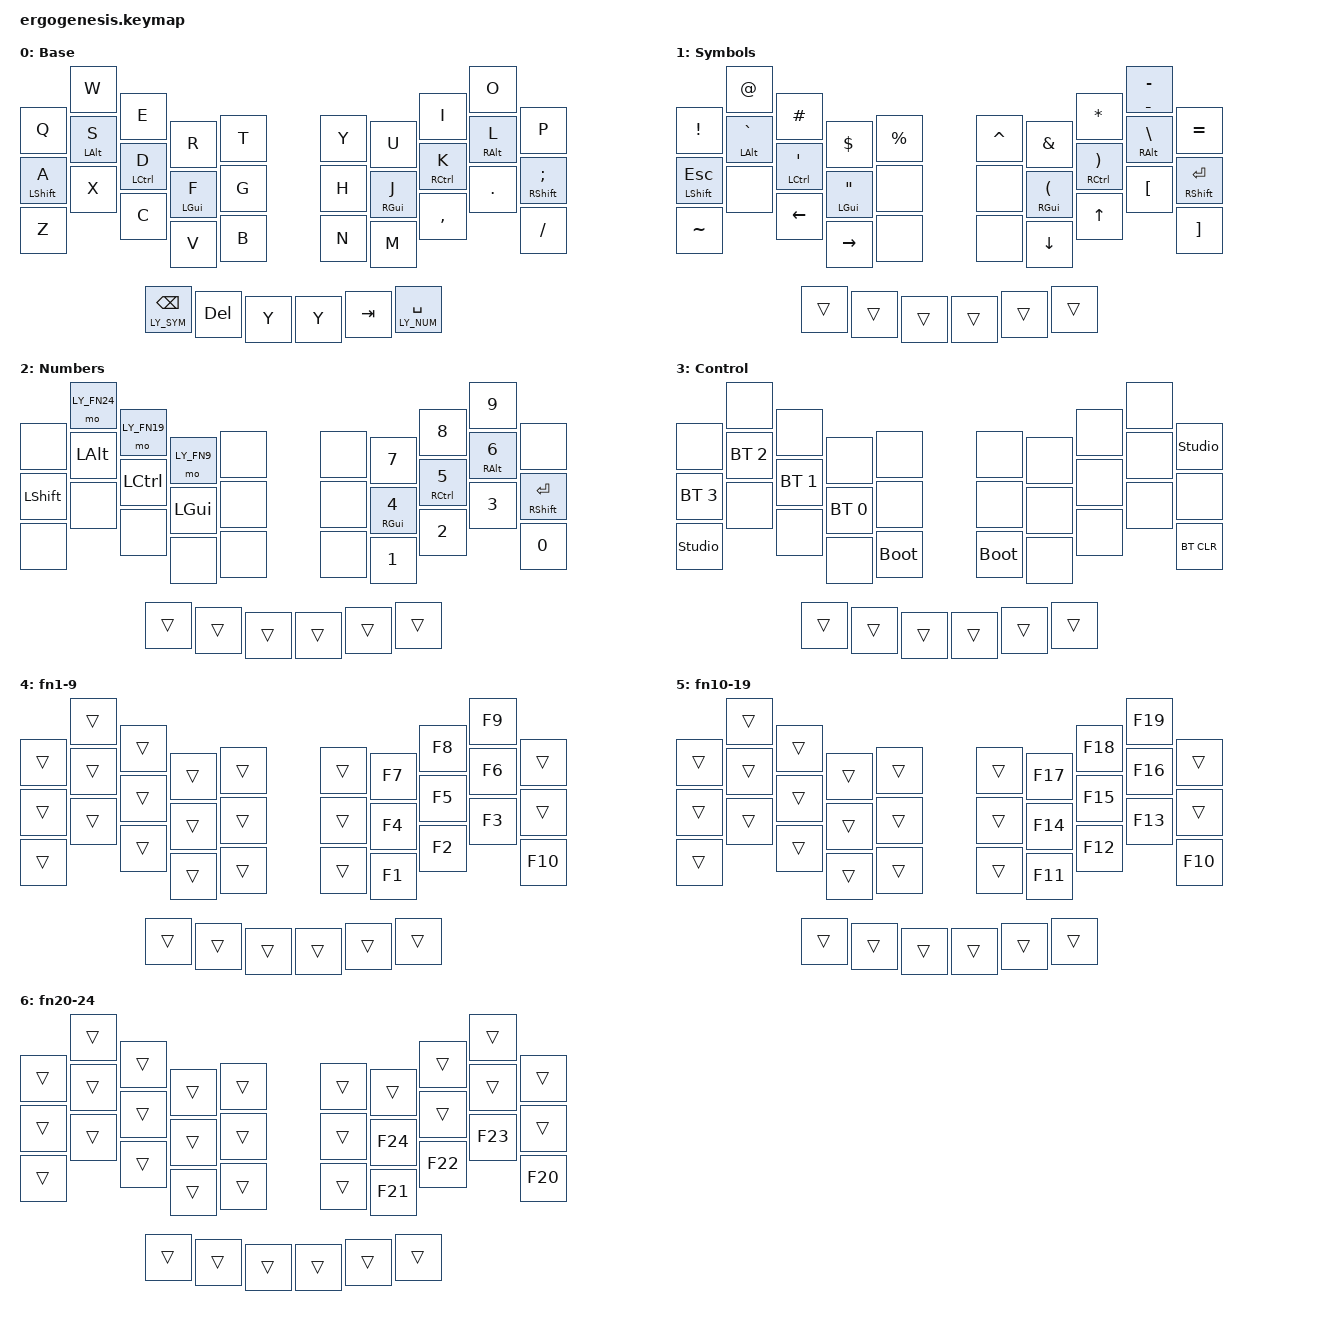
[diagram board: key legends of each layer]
// https://github.com/zmkfirmware/zmk/blob/main/app/boards/shields/cradio/cradio.keymap
// https://github.com/auryn31/avocado/blob/main/config/boards/shields/avocado/avocado.keymap


#include <behaviors.dtsi>// https://github.com/zmkfirmware/zmk/blob/main/app/dts/behaviors.dtsi
#include <dt-bindings/zmk/keys.h>// https://github.com/zmkfirmware/zmk/blob/main/app/include/dt-bindings/zmk/keys.h
#include <dt-bindings/zmk/bt.h>// https://github.com/zmkfirmware/zmk/blob/main/app/include/dt-bindings/zmk/bt.h

#include <dt-bindings/zmk/pointing.h>// https://github.com/zmkfirmware/zmk/blob/main/app/include/dt-bindings/zmk/pointing.h
#include "./36.h"
#include "./helper.h"

// https://github.com/urob/zmk-helpers/tree/main?tab=readme-ov-file#unicode-characters-and-language-collection
// #define HOST_OS 1 // Linux
// #define HOST_OS 2// MacOS
// #include "zmk-helpers/helper.h"
// // #include "zmk-helpers/unicode-chars/german.dtsi" // https://github.com/urob/zmk-helpers/blob/main/include/zmk-helpers/unicode-chars/german.dtsi
// #include <zmk-helpers/unicode-chars/currency.dtsi>// https://github.com/urob/zmk-helpers/blob/main/include/zmk-helpers/unicode-chars/currency.dtsi

// TODO: https://github.com/urob/zmk-helpers/blob/main/docs/core_helpers.md#zmk_unicode
// TODO leader key?

// Home row mods macro
#define HRML(k1,k2,k3,k4) &ht LSHFT k1  &ht LALT  k2  &ht LCTRL k3  &ht LGUI  k4
#define HRMR(k1,k2,k3,k4) &ht RGUI  k1  &ht RCTRL k2  &ht RALT  k3  &ht RSHFT k4

#define LY_BAS 0
#define LY_SYM 1
#define LY_NUM 2
#define LY_CTL 3
#define LY_FN9 4
#define LY_FN19 5
#define LY_FN24 6

//
// #define LY_NAV 3

// rango keyboard toggle with ctrl-shift-5

// ref layers https://github.com/zmkfirmware/zmk/blob/e93cd31a5866cd4f50385bece7a3fb770f2ca6f8/app/boards/shields/cradio/cradio.keymap#L4

/ {
	// {{{1 Combos
	// https://zmk.dev/docs/keymaps/combos
	combos {
		compatible = "zmk,combos";
		// Keys
		key_super {
			// Windows key was missing!
			key-positions = <LM1 RM1>;
			timeout-ms = <50>;
			layers = < LY_BAS >;
			bindings = <&kp LWIN>;
		};
		// key_escape {
		//     // Wanted a way to avoid 2 layer switches while pressing escape in vim
		//     // emulates C-[
		//     key-positions = <LB4 RT4>;
		//     timeout-ms = <50>;
		//     // layers = < LY_BAS LY_SYM >;
		//     bindings = <&kp ESC>;
		// };
		// fn1_combo {
		//     key-positions = <LT1 RB1>;
		//     timeout-ms = <50>;
		//     layers = < LY_NUM >;
		//     bindings = <&kp F1>;
		// };
	};
	
	// {{{1 Macros
	// https://zmk.dev/docs/keymaps/behaviors/macros
	macros {
	};
	
	// {{{1 Behaviors
	// https://zmk.dev/docs/keymaps/behaviors#key-press-behaviors
	// https://zmk.dev/docs/keymaps/behaviors#user-defined-behaviors
	behaviors {
		ht: hold_tap {
			compatible = "zmk,behavior-hold-tap";
			#binding-cells = <2>;
			// flavor = "tap-preferred";
			flavor = "balanced";
			tapping-term-ms = <220>;
			quick-tap-ms = <150>;
			require-prior-idle-ms = <100>;
			bindings = <&kp>, <&kp>;
		};
		td0: tap_dance_0 {
			compatible = "zmk,behavior-tap-dance";
			label = "TAPDANCE";
			#binding-cells = <0>;// No inputs
			tapping-term-ms = <200>;
			bindings = <&kp N1>, <&kp N2>, <&kp N3>;// outputs
		};
		// https://zmk.dev/docs/keymaps/behaviors/hold-tap?examples=home_row_mods#layer-tap
		/* urob timeless HRM */
		/* Left-hand HRMs. */
		hml: hml {
			compatible = "zmk,behavior-hold-tap";
			#binding-cells = <2>;
			flavor = "balanced";
			// tapping-term-ms = <280>;
			// quick-tap-ms = <175>;
			// require-prior-idle-ms = <150>;
			tapping-term-ms = <220>;
			quick-tap-ms = <150>;
			require-prior-idle-ms = <100>;
			bindings = <&kp>, <&kp>;
			// before "tapping term" any keys <PRESSED> NOT listed will "tap"
			hold-trigger-key-positions = <KEYS_R THUMBS KEYS_HRM_L>;
			// If set, modifies the previous to <RELEASED>
			hold-trigger-on-release;
		};
		/* Right-hand HRMs. */
		hmr: hmr {
			compatible = "zmk,behavior-hold-tap";
			#binding-cells = <2>;
			flavor = "balanced";
			// tapping-term-ms = <280>;
			// quick-tap-ms = <175>;
			// require-prior-idle-ms = <150>;
			tapping-term-ms = <220>;
			quick-tap-ms = <150>;
			require-prior-idle-ms = <100>;
			bindings = <&kp>, <&kp>;
			hold-trigger-key-positions = <KEYS_L THUMBS KEYS_HRM_R>;
			hold-trigger-on-release;
		};
	};
	
	// {{{1 conditional-layers
	conditional_layers {
		compatible = "zmk,conditional-layers";
		tri_layer {
			if-layers = <LY_SYM LY_NUM>;
			then-layer = <LY_CTL>;
		};
	};
	
	// {{{1 Keymap
	keymap {
		compatible = "zmk,keymap";
		// {{{1 [0] LY_BAS
		default_layer {
			display-name = "Base";
			bindings = <
			&kp Q           &kp W        &kp E        &kp R            &kp T     /* | */    &kp Y      &kp U            &kp I         &kp O        &kp P
			&hml LSHIFT  A  &hml LALT S  &hml LCTRL D &hml LGUI  F     &kp G     /* | */    &kp H      &hmr RGUI  J     &hmr RCTRL K  &hmr RALT  L &hmr RSHIFT SEMI
			&kp Z           &kp X        &kp C        &kp V            &kp B     /* | */    &kp N      &kp M            &kp COMMA     &kp DOT      &kp FSLH
			&lt LY_SYM BKSP  &kp DEL   &kp Y   /* | */  &kp Y  &kp TAB    &lt LY_NUM SPACE 
			
			>;// kinesis has enter where I put tab
		};
		
		// {{{1 [1] LY_SYM
		symbols_layer {
			display-name = "Symbols";
			bindings = <
			&kp EXCL          &kp AT          &kp HASH       &kp DOLLAR      &kp PRCNT   /* | */    &kp CARET &kp AMPS       &kp STAR         &mt UNDER MINUS   &kp EQUAL
			&hml LSHIFT ESC   &hml LALT GRAVE &hml LCTRL SQT &hml LGUI DQT   &none       /* | */    &none     &hmr RGUI LPAR &hmr RCTRL RPAR  &hmr RALT BSLH    &hmr RSHIFT ENTER
			&kp TILDE         &none           &kp LEFT       &kp RIGHT       &none       /* | */    &none     &kp DOWN         &kp UP         &kp LBKT          &kp RBKT
			&trans          &trans &trans      /* | */ &trans    &trans    &trans
			>;
			// " is a bit awkward to type
			// left-side shift requires left thumb and right shift -> weird! avoid it
			// TODO: put unused keys in <24> <25> (e.g. ^ %)
		};
		// {{{1 [2] LY_NUM
		num_layer {
			display-name = "Numbers";
			bindings = <
			&none            &mo LY_FN24      &mo LY_FN19      &mo LY_FN9       &none   /* | */   &none       &kp N7       &kp N8        &kp N9          &none
			&kp LSHIFT       &kp LALT         &kp LCTRL        &kp LGUI         &none   /* | */   &none       &hmr RGUI N4 &hmr RCTRL N5 &hmr RALT  N6   &hmr RSHIFT ENTER
			&none            &none            &none            &none            &none   /* | */   &none       &kp N1       &kp N2        &kp N3          &kp N0
			&trans           &trans  &trans /* | */   &trans &trans     &trans
			>;
			// smart number layer?
			// &mo LY_FN24 -> &lt LY_FN24 SPACE
			// &kp SPACE   -> &lt LY_FN24 SPACE
		};
		
		// {{{1 [3] LY_CTL
		ctl_layer {
			display-name = "Control";
			bindings = <
			&none            &none         &none        &none         &none         /* | */    &none        &none         &none         &none         &studio_unlock
			&bt BT_SEL 3     &bt BT_SEL 2  &bt BT_SEL 1 &bt BT_SEL 0  &none         /* | */    &none        &none         &none         &none         &none
			&studio_unlock   &none         &none        &none         &bootloader   /* | */    &bootloader  &none         &none         &none         &bt BT_CLR
			&trans        &trans    &trans    /* | */     &trans &trans       &trans
			>;
			// TODO: macro to print reminder of the bt profiles?
		};
		// {{{1 [4] LY_FN9
		fn1-9_layer {
			display-name = "fn1-9";
			bindings = <
			&trans &trans &trans &trans &trans /* | */ &trans &kp F7 &kp F8 &kp F9 &trans
			&trans &trans &trans &trans &trans /* | */ &trans &kp F4 &kp F5 &kp F6 &trans
			&trans &trans &trans &trans &trans /* | */ &trans &kp F1 &kp F2 &kp F3 &kp F10
			&trans &trans &trans /* | */ &trans &trans &trans
			>;
		};
		// {{{1 [5] LY_FN19
		fn10-19_layer {
			display-name = "fn10-19";
			bindings = <
			&trans &trans &trans &trans &trans /* | */ &trans &kp F17 &kp F18 &kp F19 &trans
			&trans &trans &trans &trans &trans /* | */ &trans &kp F14 &kp F15 &kp F16 &trans
			&trans &trans &trans &trans &trans /* | */ &trans &kp F11 &kp F12 &kp F13 &kp F10
		&trans &trans &trans /* | */ &trans &trans &trans
			>;
		};
		
		// {{{1 [6] LY_FN24
		fn20-24_layer {
			display-name = "fn20-24";
			bindings = <
			&trans &trans &trans &trans &trans /* | */ &trans &trans  &trans  &trans  &trans
			&trans &trans &trans &trans &trans /* | */ &trans &kp F24 &trans  &trans  &trans
			&trans &trans &trans &trans &trans /* | */ &trans &kp F21 &kp F22 &kp F23 &kp F20
		&trans &trans &trans /* | */ &trans &trans &trans
			>;
		};
		
	};
};

// Gaming layer? (no hmr)
// // {{{1 LAYER 3
//  nav_layer {
//      display-name = "Nav";
//      bindings = <
//        &kp N1       &kp N2  &kp N3         &kp N4           &kp N5  /* | */    &none       &none          &none           &none        &kp BKSP
//        &kp LSHIFT   &kp Q   &kp W          &kp E            &kp R   /* | */    &kp LEFT    &kp DOWN       &kp UP          &kp RIGHT    &kp ENTER
//        &kp LCTRL    &kp A   &msc SCRL_LEFT &msc SCRL_RIGHT  &kp G   /* | */    &none       &msc SCRL_UP   &msc SCRL_DOWN  &none
//                                            &kp SPACE        &none   /* | */    &none       &to LY_BAS
//      >;
//  };
//  // TODO: get the navigation commands from ben

// vim:fdm=marker:fen:fdl=0:
